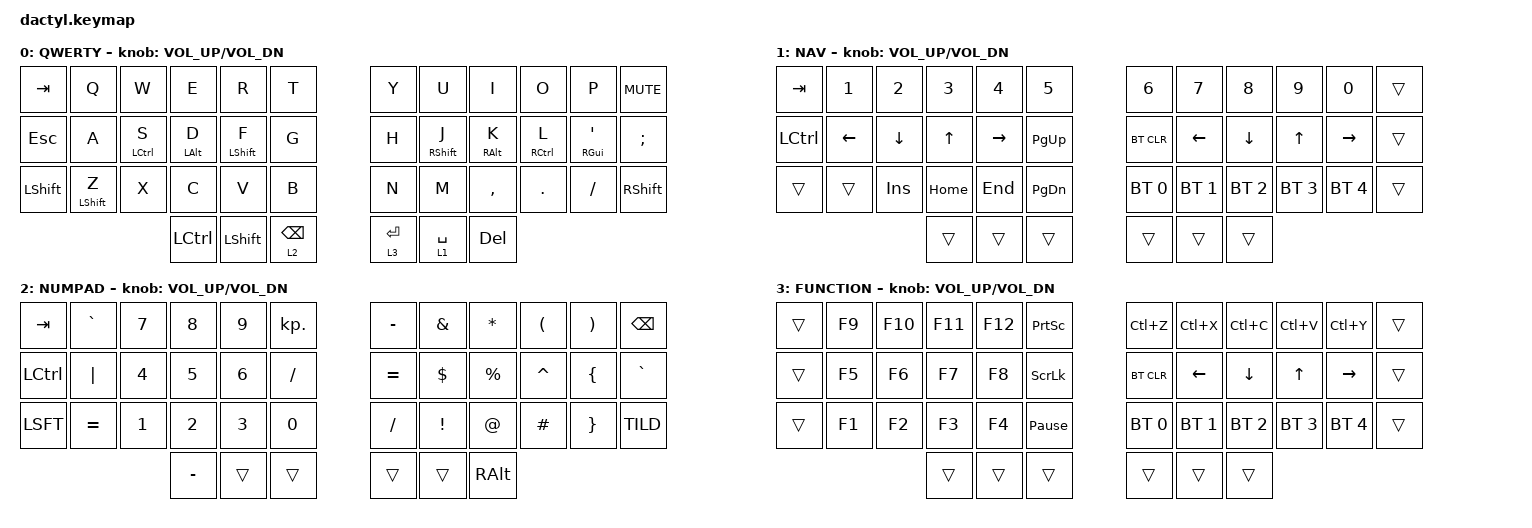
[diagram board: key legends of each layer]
#include <behaviors.dtsi>
#include <dt-bindings/zmk/keys.h>
#include <dt-bindings/zmk/bt.h>
#include <dt-bindings/zmk/outputs.h>

#define QWERTY 0
#define NAV 1
#define NUMPAD 2
#define FUNCTION 3

&mt {
  flavor = "tap-preferred";
  //tapping_term_ms = <250>;
};

&kscan0 {
    debounce-period = <10>;
};


#define COMBO(NAME, KEYPOS) \
    combo_##NAME { \
        timeout-ms = <50>; \
        key-positions = <KEYPOS>; \
        bindings = <&kp NAME>; \
    };
/ {
    behaviors {
        i3: behavior_ithree {
			compatible = "zmk,behavior-hold-tap";
			label = "I_THREE";
			flavor = "tap-preferred";
			tapping-term-ms = <500>;
            #binding-cells = <2>;
			bindings = <&kp>, <&kp>;
		};
    };

    combos {
        compatible = "zmk,combos";
        COMBO(NUM_1, 1 13)
        COMBO(NUM_2, 2 14)
        COMBO(NUM_3, 3 15)
        COMBO(NUM_4, 4 16)
        COMBO(NUM_5, 5 17)
        COMBO(NUM_6, 6 18)
        COMBO(NUM_7, 7 19)
        COMBO(NUM_8, 8 20)
        COMBO(NUM_9, 9 21)
        COMBO(NUM_0, 10 22)

        COMBO(ESC, 1 2)
        COMBO(BSPC, 9 10)
        COMBO(MINUS, 3 4)
        COMBO(DELETE, 8 9)
        COMBO(LPAR, 4 5)
        COMBO(RPAR, 6 7)
        COMBO(TAB, 2 3)
        COMBO(SCLN, 21 22)
        COMBO(ENTER, 20 21 22)
    };
    };

/ {
        keymap {
                compatible = "zmk,keymap";

                default_layer {
                        label = "QWERTY";
// -----------------------------------------------------------------------------------------
// |  TAB |  Q  |  W  |  E  |  R  |  T  |   |  Y  |  U   |  I  |  O  |  P  | BKSP |
// | CTRL |  A  |  S  |  D  |  F  |  G  |   |  H  |  J   |  K  |  L  |  ;  |  '   |
// | SHFT |  Z  |  X  |  C  |  V  |  B  |   |  N  |  M   |     |  .  |  /  | ESC  |
//                    | GUI | LWR | SPC |   | ENT | RSE  | ALT |
                        bindings = <
  &kp TAB    &kp Q  &kp W  &kp E  &kp R  &kp T    &kp Y  &kp U   &kp I      &kp O    &kp P     &kp C_MUTE 
   &kp ESC  &kp A  &mt LCTRL S  &mt LALT D  &mt LSHFT F  &kp G    &kp H  &mt RSHFT J   &mt RALT K  &mt RCTRL L  &mt RGUI APOSTROPHE  &kp SEMI 
   &kp LSHFT  &mt LSHFT Z  &kp X  &kp C  &kp V  &kp B    &kp N  &kp M   &kp COMMA  &kp DOT  &kp FSLH  &kp RSHFT 
                  &kp LCTRL &kp LSHFT &lt 2 BSPC         &lt 3 ENTER &lt 1 SPACE      &kp DELETE 
                        >;
			sensor-bindings = <&inc_dec_kp C_VOL_UP C_VOL_DN>;
                };
                nav_layer {
                        label = "NAV";
// -----------------------------------------------------------------------------------------
// |  TAB |  1  |  2  |  3  |  4  |  5  |   |  6  |  7  |  8  |  9  |  0  | BKSP |
// | BTCLR| BT1 | BT2 | BT3 | BT4 | BT5 |   | LFT | DWN |  UP | RGT |     |      |
// | SHFT |     |     |     |     |     |   |     |     |     |     |     |      |
//                    | GUI |     | SPC |   | ENT |     | ALT |
                        bindings = <
 &kp TAB     &kp N1     &kp N2     &kp N3     &kp N4     &kp N5                          &kp N6     &kp N7     &kp N8     &kp N9  &kp N0  &trans 
      &kp LCTL  &kp LEFT  &kp DOWN  &kp UP  &kp RIGHT  &kp PAGE_UP                       &bt BT_CLR  &kp LEFT  &kp DOWN  &kp UP  &kp RIGHT  &trans 
      &trans  &trans  &kp INSERT  &kp HOME  &kp END  &kp PAGE_DOWN                       &bt BT_SEL 0 &bt BT_SEL 1 &bt BT_SEL 2 &bt BT_SEL 3 &bt BT_SEL 4 &trans
                                          &trans  &trans   &trans      &trans &trans &trans                        
        >;
	sensor-bindings = <&inc_dec_kp C_VOL_UP C_VOL_DN>;
                };

                numpad_layer {
                        label = "NUMPAD";
// -----------------------------------------------------------------------------------------
// |  TAB |  !  |  @  |  #  |  $  |  %  |   |  ^  |  &  |  *  |  (  |  )  | BKSP |
// | CTRL |     |     |     |     |     |   |  -  |  =  |  [  |  ]  |  \  |  `   |
// | SHFT |     |     |     |     |     |   |  _  |  +  |  {  |  }  | "|" |  ~   |
//                    | GUI |     | SPC |   | ENT |     | ALT |
                        bindings = <
       &kp TAB  &kp GRAVE  &kp N7     &kp N8    &kp N9  &kp KP_DOT                     &kp MINUS  &kp AMPERSAND &kp ASTRK  &kp LPRN  &kp RPRN  &kp BSPC 
      &kp LCTL &kp PIPE  &kp N4      &kp N5      &kp N6  &kp FSLH                        &kp EQUAL   &kp DOLLAR  &kp PERCENT  &kp CARET  &kp LEFT_BRACE   &kp GRAVE 
      &kp LSFT  &kp EQUAL   &kp N1    &kp N2    &kp N3  &kp N0                        &kp SLASH  &kp EXCL   &kp AT  &kp HASH  &kp RIGHT_BRACE  &kp TILD 
                                          &kp MINUS       &trans   &trans      &trans  &trans  &kp RALT 
                        >;
			sensor-bindings = <&inc_dec_kp C_VOL_UP C_VOL_DN>;
                };

                function_layer {
                        label = "FUNCTION";
                        bindings = < 
        &trans  &kp F9  &kp F10  &kp F11  &kp F12  &kp PRINTSCREEN                        &kp LC(Z)     &kp LC(X)     &kp LC(C)     &kp LC(V)  &kp LC(Y)  &trans 
      &trans  &kp F5  &kp F6  &kp F7  &kp F8  &kp SCROLLLOCK                        &bt BT_CLR  &kp LEFT  &kp DOWN  &kp UP  &kp RIGHT  &trans 
      &trans  &kp F1  &kp F2  &kp F3  &kp F4  &kp PAUSE_BREAK                       &bt BT_SEL 0 &bt BT_SEL 1 &bt BT_SEL 2 &bt BT_SEL 3 &bt BT_SEL 4 &trans 
                                          &trans  &trans   &trans      &trans  &trans  &trans 
                        >;
			sensor-bindings = <&inc_dec_kp C_VOL_UP C_VOL_DN>;
                };
        };
};
